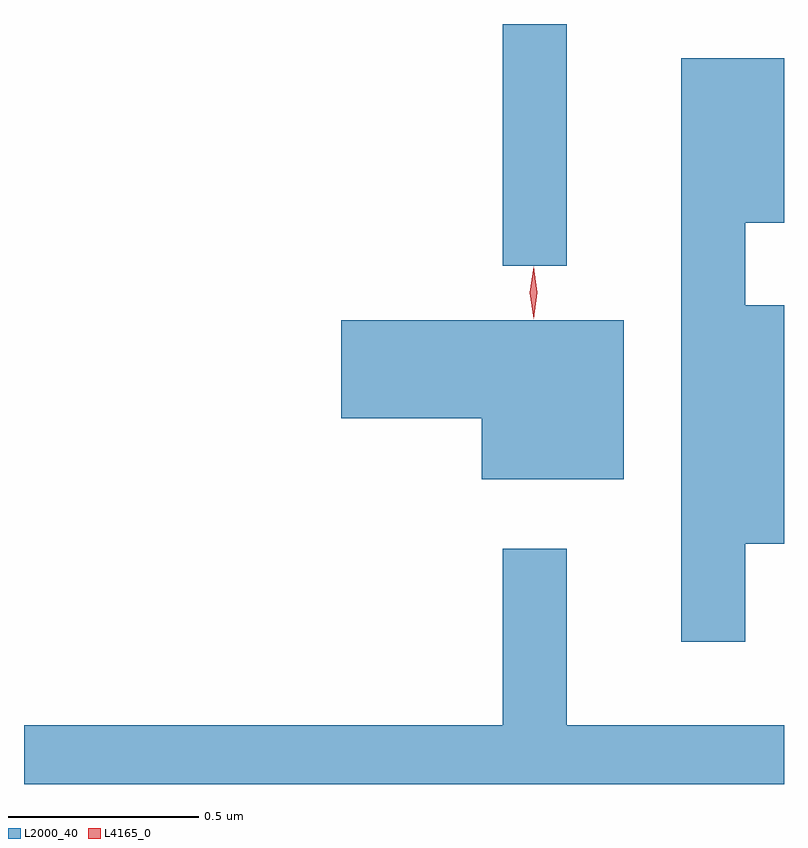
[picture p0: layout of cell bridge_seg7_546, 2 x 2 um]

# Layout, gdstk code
import gdstk
lib = gdstk.Library(unit=1e-6, precision=1e-09)
def R(c, l, rs):  # rectangles x0, y0, x1, y1
    for r in rs: c.add(gdstk.rectangle(r[:2], r[2:], *l))
def P(c, l, *ps):  # polygons
    for p in ps: c.add(gdstk.Polygon(p, *l))
L2000_40 = (2000, 40)
L4165_0 = (4165, 0)

bridge_seg7_546 = lib.new_cell('bridge_seg7_546')
R(bridge_seg7_546, L2000_40, [(891.711,1749.093,891.879,1749.729)])
P(bridge_seg7_546, L2000_40, [(892.349,1748.361),(892.451,1748.361),(892.451,1748.989),(892.349,1748.989),(892.349,1749.206),(892.451,1749.206),(892.451,1749.639),(892.181,1749.639),(892.181,1748.103),(892.349,1748.103)],
  [(892.029,1748.949),(891.286,1748.949),(891.286,1748.691),(891.656,1748.691),(891.656,1748.531),(892.029,1748.531)],
  [(892.451,1747.884),(891.879,1747.884),(891.879,1748.348),(891.711,1748.348),(891.711,1747.884),(890.451,1747.884),(890.451,1747.729),(892.451,1747.729)])
P(bridge_seg7_546, L4165_0, [(891.792,1748.954),(891.792,1748.954),(891.782,1749.022),(891.792,1749.09),(891.792,1749.09),(891.793,1749.09),(891.802,1749.022),(891.793,1748.954)],
  [(891.792,1748.96),(891.792,1748.96),(891.782,1749.023),(891.792,1749.086),(891.792,1749.087),(891.793,1749.086),(891.802,1749.023),(891.793,1748.96)])

lib.write_gds('bridge_seg7_546.gds')
